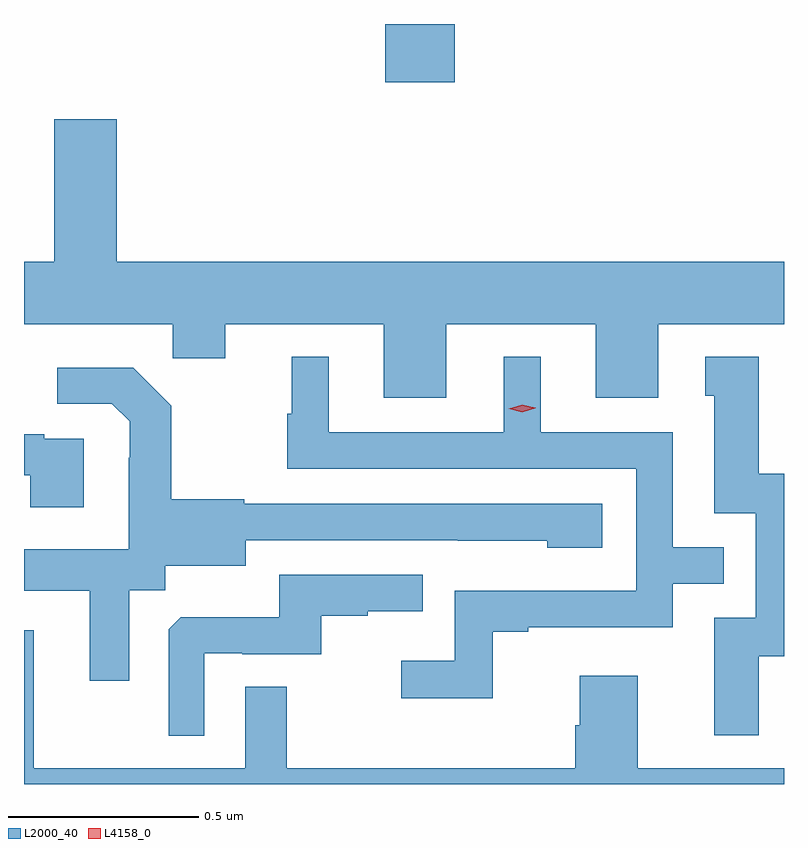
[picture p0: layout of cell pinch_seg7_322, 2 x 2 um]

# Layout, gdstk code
import gdstk
lib = gdstk.Library(unit=1e-6, precision=1e-09)
def R(c, l, rs):  # rectangles x0, y0, x1, y1
    for r in rs: c.add(gdstk.rectangle(r[:2], r[2:], *l))
def P(c, l, *ps):  # polygons
    for p in ps: c.add(gdstk.Polygon(p, *l))
L2000_40 = (2000, 40)
L4158_0 = (4158, 0)

pinch_seg7_322 = lib.new_cell('pinch_seg7_322')
R(pinch_seg7_322, L2000_40, [(549.494,1077.177,549.677,1077.33)])
P(pinch_seg7_322, L2000_40, [(549.655,1076.54),(550.049,1076.54),(550.049,1076.346),(550.213,1076.346),(550.213,1076.54),(550.544,1076.54),(550.544,1076.704),(548.788,1076.704),(548.788,1077.079),(548.624,1077.079),(548.624,1076.704),(548.544,1076.704),(548.544,1076.54),(548.935,1076.54),(548.935,1076.45),(549.073,1076.45),(549.073,1076.54),(549.491,1076.54),(549.491,1076.346),(549.655,1076.346)],
  [(550.477,1075.666),(550.544,1075.666),(550.544,1076.147),(550.477,1076.147),(550.477,1076.455),(550.337,1076.455),(550.337,1076.352),(550.361,1076.352),(550.361,1076.043),(550.47,1076.043),(550.47,1075.767),(550.361,1075.767),(550.361,1075.458),(550.477,1075.458)],
  [(549.777,1075.731),(549.871,1075.731),(549.871,1075.743),(550.251,1075.743),(550.251,1075.857),(550.385,1075.857),(550.385,1075.953),(550.251,1075.953),(550.251,1076.256),(549.904,1076.256),(549.904,1076.455),(549.806,1076.455),(549.806,1076.256),(549.346,1076.256),(549.346,1076.455),(549.248,1076.455),(549.248,1076.304),(549.237,1076.304),(549.237,1076.16),(550.155,1076.16),(550.155,1075.839),(549.678,1075.839),(549.678,1075.654),(549.537,1075.654),(549.537,1075.556),(549.777,1075.556)],
  [(548.821,1075.84),(548.916,1075.84),(548.916,1075.904),(549.127,1075.904),(549.127,1075.971),(549.685,1075.971),(549.685,1075.97),(549.921,1075.97),(549.921,1075.952),(550.066,1075.952),(550.066,1076.067),(549.123,1076.067),(549.123,1076.08),(548.931,1076.08),(548.931,1076.325),(548.831,1076.425),(548.631,1076.425),(548.631,1076.331),(548.775,1076.331),(548.822,1076.284),(548.822,1076.189),(548.82,1076.189),(548.82,1075.948),(548.544,1075.948),(548.544,1075.838),(548.717,1075.838),(548.717,1075.602),(548.821,1075.602)],
  [(548.701,1076.238),(548.597,1076.238),(548.597,1076.251),(548.544,1076.251),(548.544,1076.142),(548.561,1076.142),(548.561,1076.058),(548.701,1076.058)],
  [(549.018,1075.674),(549.118,1075.674),(549.118,1075.671),(549.326,1075.671),(549.326,1075.773),(549.449,1075.773),(549.449,1075.784),(549.593,1075.784),(549.593,1075.881),(549.216,1075.881),(549.216,1075.769),(548.957,1075.769),(548.925,1075.737),(548.925,1075.457),(549.018,1075.457)],
  [(550.544,1075.372),(550.159,1075.372),(550.159,1075.615),(550.007,1075.615),(550.007,1075.485),(549.995,1075.485),(549.995,1075.372),(549.235,1075.372),(549.235,1075.586),(549.126,1075.586),(549.126,1075.372),(548.569,1075.372),(548.569,1075.735),(548.544,1075.735),(548.544,1075.33),(550.544,1075.33)])
P(pinch_seg7_322, L4158_0, [(549.855,1076.308),(549.819,1076.317),(549.819,1076.317),(549.819,1076.318),(549.855,1076.328),(549.89,1076.32),(549.891,1076.32),(549.89,1076.319)])

lib.write_gds('pinch_seg7_322.gds')
